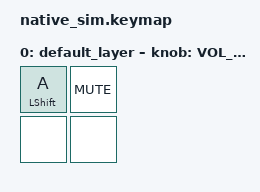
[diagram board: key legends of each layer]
#include <behaviors.dtsi>
#include <dt-bindings/zmk/keys.h>
#include <dt-bindings/zmk/kscan_mock.h>

/ {
    esb_link {
        compatible = "zmk,split-esb";
        base-address = [E7 D3 9A 5C];

        peripherals {
            relay: peripheral_relay {
                pipe = <0>;
                prefix = <0x4B>;
                role = "relay";
            };
        };
    };

    keymap {
        compatible = "zmk,keymap";

        default_layer {
            bindings = <
                &mt LSHFT A &kp C_MUTE
                &none &none
            >;
            sensor-bindings = <&inc_dec_kp C_VOL_UP C_VOL_DN>;
        };
    };

    mock_encoder: mock_encoder {
        compatible = "zmk,sensor-encoder-mock";
        status = "okay";
        event-startup-delay = <100>;
        event-period = <10>;
        events = <18 18 (-18)>;
    };

    sensors: sensors {
        compatible = "zmk,keymap-sensors";
        sensors = <&mock_encoder>;
        triggers-per-rotation = <20>;
    };
};

&kscan {
    /delete-property/ exit-after;
    events = <
        ZMK_MOCK_PRESS(0,0,10)
        ZMK_MOCK_RELEASE(0,0,20)
        ZMK_MOCK_PRESS(0,1,10)
        ZMK_MOCK_RELEASE(0,1,20)
    >;
};
